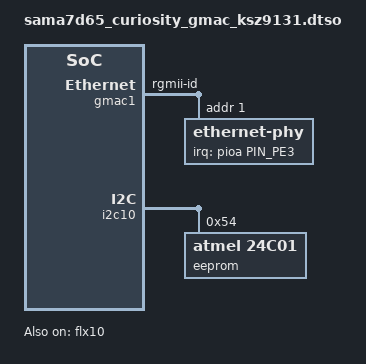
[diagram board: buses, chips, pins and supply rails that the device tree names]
// SPDX-License-Identifier: (GPL-2.0+ OR MIT)
/*
 *  Device Tree overlay for SAMA7D65-CURIOSITY board
 *  in order to use single-port Gigabit PHY EDS2 daughter card.
 *
 *  Copyright (c) 2026 Microchip Technology Inc. and its subsidiaries
 *
 *  Author: Joemel John Diente <JoemelJohn.Diente@microchip.com>
 *
 * Refer to the EV35H80A (KSZ9131 EDS2 Daughter Card)
 *
 */
/dts-v1/;
/plugin/;
#include "sama7d65-pinfunc.h"
#include <dt-bindings/mfd/atmel-flexcom.h>
#include <dt-bindings/clock/at91.h>
#include <dt-bindings/pinctrl/at91.h>
#include <dt-bindings/gpio/gpio.h>
#include <dt-bindings/interrupt-controller/irq.h>

&{/}
{
	model = "Microchip SAMA7D65 Curiosity KSZ9131";
};

&flx10 {
	atmel,flexcom-mode = <ATMEL_FLEXCOM_MODE_TWI>;
	status = "okay";
};

&gmac1 {
	#address-cells = <1>;
	#size-cells = <0>;
	phy-mode = "rgmii-id";
	status = "okay";

	ethernet-phy@1 {
		reg = <0x1>;
		interrupt-parent = <&pioa>;
		interrupts = <PIN_PE3 IRQ_TYPE_LEVEL_LOW>;
//		rxc-skew-psec = <800>;
		status = "okay";
	};
};

&i2c10 {
	#address-cells = <1>;
	#size-cells = <0>;
	dmas = <0>, <0>;
	status = "okay";

	eeprom@54 {
		compatible = "atmel,24c01";
		reg = <0x54>;
		pagesize = <8>;
		status = "okay";
	};
};
